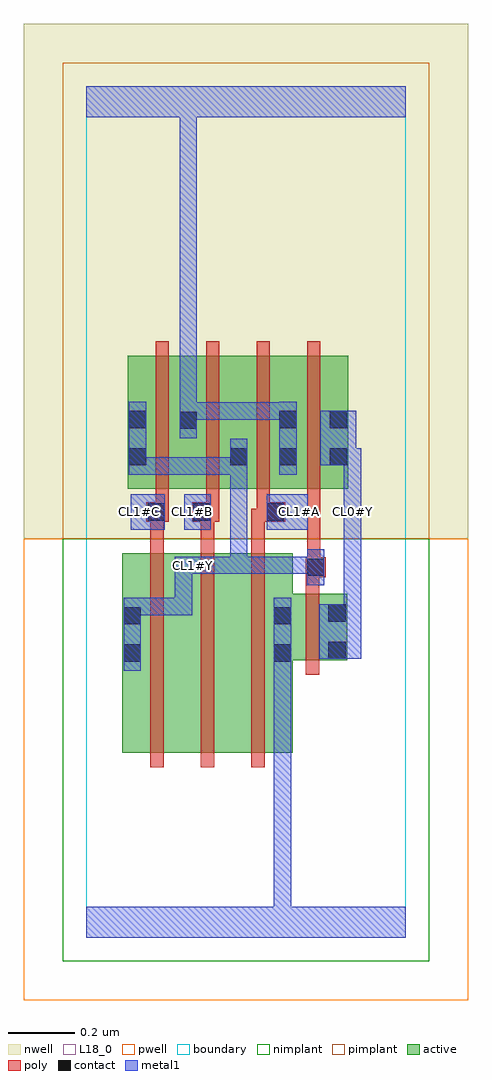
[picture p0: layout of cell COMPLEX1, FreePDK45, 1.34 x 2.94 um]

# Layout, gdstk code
import gdstk
lib = gdstk.Library(unit=1e-6, precision=1e-09)
def R(c, l, rs):  # rectangles x0, y0, x1, y1
    for r in rs: c.add(gdstk.rectangle(r[:2], r[2:], *l))
def A(c, l, x, y, w, h, nx, ny, dx, dy):  # array of equal rectangles
    R(c, l, [(x+i*dx, y+j*dy, x+i*dx+w, y+j*dy+h) for i in range(nx) for j in range(ny)])
active = (1, 0)
pwell = (2, 0)
nwell = (3, 0)
nimplant = (4, 0)
pimplant = (5, 0)
poly = (9, 0)
contact = (10, 0)
metal1 = (11, 0)
L18_0 = (18, 0)
boundary = (235, 0)

complex1 = lib.new_cell('COMPLEX1')
A(complex1, active, 0.124, 1.35, 0.06, 0.294, 3, 1, 0.152, 0)
R(complex1, active, [(0.108,0.556,0.288,1.156), (0.108,0.556,0.168,1.156), (0.288,0.556,0.44,1.156), (0.44,0.556,0.62,1.156), (0.56,0.556,0.62,1.034), (0.56,0.834,0.784,1.034), (0.724,0.834,0.784,1.034), (0.124,1.35,0.336,1.75), (0.276,1.35,0.488,1.75), (0.428,1.35,0.636,1.75), (0.576,1.35,0.636,1.644), (0.576,1.35,0.788,1.75), (0.728,1.35,0.788,1.644)])
R(complex1, pwell, [(-0.188,-0.188,1.148,1.2)])
R(complex1, nwell, [(-0.188,1.2,1.148,2.748)])
R(complex1, nimplant, [(-0.072,-0.072,1.032,1.2)])
R(complex1, pimplant, [(-0.072,1.2,1.032,2.632)])
A(complex1, poly, 0.192, 0.512, 0.04, 0.688, 3, 1, 0.152, 0)
A(complex1, poly, 0.192, 1.16, 0.04, 0.13, 3, 1, 0.152, 0)
A(complex1, poly, 0.208, 1.27, 0.04, 0.076, 3, 1, 0.152, 0)
A(complex1, poly, 0.208, 1.306, 0.04, 0.488, 4, 1, 0.152, 0)
R(complex1, poly, [(0.66,0.79,0.7,1.078), (0.66,1.038,0.7,1.124), (0.66,1.084,0.72,1.144), (0.664,1.104,0.704,1.346), (0.664,1.104,0.704,1.144), (0.664,1.104,0.704,1.144), (0.18,1.25,0.248,1.31), (0.192,1.25,0.232,1.29), (0.192,1.25,0.232,1.29), (0.318,1.25,0.4,1.31), (0.344,1.25,0.384,1.29), (0.344,1.25,0.384,1.29), (0.496,1.25,0.552,1.29), (0.512,1.25,0.552,1.29), (0.512,1.25,0.598,1.31)])
R(complex1, contact, [(0.112,0.83,0.164,0.882), (0.564,0.83,0.616,0.882), (0.728,0.838,0.78,0.89), (0.112,0.942,0.164,0.994), (0.564,0.942,0.616,0.994), (0.728,0.95,0.78,1.002), (0.664,1.088,0.716,1.14), (0.184,1.254,0.236,1.306), (0.322,1.254,0.374,1.306), (0.542,1.254,0.594,1.306), (0.128,1.42,0.18,1.472), (0.432,1.42,0.484,1.472), (0.58,1.42,0.632,1.472), (0.732,1.42,0.784,1.472), (0.28,1.53,0.332,1.582), (0.128,1.532,0.18,1.584), (0.58,1.532,0.632,1.584), (0.732,1.532,0.784,1.584)])
R(complex1, metal1, [(0,0,0.96,0.092), (0.564,0.04,0.616,0.092), (0.564,0.04,0.616,0.092), (0.564,0.04,0.616,0.092), (0.564,0.04,0.616,0.092), (0.564,0.04,0.616,0.092), (0.564,0.04,0.616,0.092), (0.564,0.04,0.616,0.854), (0.112,0.802,0.164,1.022), (0.564,0.802,0.616,0.854), (0.564,0.802,0.616,0.854), (0.564,0.802,0.616,1.022), (0.7,0.838,0.826,1.002), (0.774,0.95,0.826,1.278), (0.112,0.97,0.164,1.022), (0.112,0.97,0.164,1.022), (0.112,0.97,0.318,1.022), (0.266,0.97,0.318,1.022), (0.266,0.97,0.318,1.146), (0.664,1.06,0.716,1.168), (0.266,1.094,0.374,1.146), (0.322,1.094,0.374,1.146), (0.322,1.094,0.374,1.146), (0.322,1.094,0.484,1.146), (0.432,1.094,0.484,1.146), (0.432,1.094,0.606,1.146), (0.432,1.094,0.484,1.444), (0.554,1.094,0.606,1.146), (0.554,1.094,0.606,1.146), (0.554,1.094,0.606,1.146), (0.554,1.094,0.716,1.146), (0.134,1.226,0.236,1.334), (0.294,1.226,0.374,1.334), (0.542,1.226,0.666,1.334), (0.774,1.226,0.826,1.334), (0.774,1.282,0.826,1.472), (0.128,1.392,0.18,1.444), (0.128,1.392,0.18,1.444), (0.128,1.392,0.18,1.612), (0.128,1.392,0.374,1.444), (0.322,1.392,0.374,1.444), (0.322,1.392,0.374,1.444), (0.322,1.392,0.374,1.444), (0.322,1.392,0.484,1.444), (0.432,1.392,0.484,1.444), (0.432,1.392,0.484,1.444), (0.432,1.392,0.484,1.5), (0.58,1.392,0.632,1.612), (0.704,1.42,0.812,1.584), (0.76,1.42,0.812,1.472), (0.76,1.42,0.826,1.472), (0.28,1.502,0.332,1.61), (0.28,1.558,0.332,1.61), (0.28,1.558,0.332,1.61), (0.28,1.558,0.332,1.61), (0.28,1.558,0.332,1.61), (0.28,1.558,0.332,1.61), (0.28,1.558,0.332,1.61), (0.28,1.558,0.332,1.61), (0.28,1.558,0.332,1.61), (0.28,1.558,0.332,1.61), (0.28,1.558,0.332,1.61), (0.28,1.558,0.332,1.61), (0.28,1.558,0.332,1.61), (0.28,1.558,0.332,1.61), (0.28,1.558,0.332,1.61), (0.28,1.558,0.332,1.61), (0.28,1.558,0.332,1.61), (0.28,1.558,0.332,1.61), (0.28,1.558,0.332,1.61), (0.28,1.558,0.496,1.61), (0.28,1.558,0.332,2.52), (0.444,1.558,0.496,1.61), (0.444,1.558,0.496,1.61), (0.444,1.558,0.496,1.61), (0.444,1.558,0.632,1.61), (0,2.468,0.96,2.56)])
R(complex1, L18_0, [(0,0,0.96,0.092), (0.564,0.04,0.616,0.092), (0.564,0.04,0.616,0.092), (0.564,0.04,0.616,0.092), (0.564,0.04,0.616,0.092), (0.564,0.04,0.616,0.092), (0.564,0.04,0.616,0.092), (0.564,0.04,0.616,0.854), (0.112,0.802,0.164,1.022), (0.564,0.802,0.616,1.022), (0.564,0.802,0.616,0.854), (0.564,0.802,0.616,0.854), (0.7,0.838,0.826,1.002), (0.774,0.95,0.826,1.278), (0.112,0.97,0.164,1.022), (0.112,0.97,0.164,1.022), (0.112,0.97,0.318,1.022), (0.266,0.97,0.318,1.022), (0.266,0.97,0.318,1.146), (0.664,1.06,0.716,1.168), (0.266,1.094,0.374,1.146), (0.294,1.094,0.346,1.146), (0.322,1.094,0.374,1.146), (0.322,1.094,0.374,1.146), (0.322,1.094,0.484,1.146), (0.432,1.094,0.484,1.146), (0.432,1.094,0.484,1.444), (0.432,1.094,0.606,1.146), (0.554,1.094,0.606,1.146), (0.554,1.094,0.606,1.146), (0.554,1.094,0.606,1.146), (0.554,1.094,0.716,1.146), (0.134,1.226,0.236,1.334), (0.294,1.226,0.374,1.334), (0.542,1.226,0.666,1.334), (0.774,1.226,0.826,1.334), (0.134,1.254,0.186,1.306), (0.294,1.254,0.346,1.306), (0.614,1.254,0.666,1.306), (0.774,1.254,0.826,1.306), (0.774,1.282,0.826,1.472), (0.128,1.392,0.18,1.612), (0.128,1.392,0.18,1.444), (0.128,1.392,0.18,1.444), (0.128,1.392,0.374,1.444), (0.322,1.392,0.374,1.444), (0.322,1.392,0.374,1.444), (0.322,1.392,0.374,1.444), (0.322,1.392,0.484,1.444), (0.432,1.392,0.484,1.444), (0.432,1.392,0.484,1.444), (0.432,1.392,0.484,1.5), (0.58,1.392,0.632,1.612), (0.704,1.42,0.812,1.584), (0.76,1.42,0.812,1.472), (0.76,1.42,0.826,1.472), (0.28,1.502,0.332,1.61), (0.28,1.558,0.332,1.61), (0.28,1.558,0.332,1.61), (0.28,1.558,0.332,1.61), (0.28,1.558,0.332,1.61), (0.28,1.558,0.332,1.61), (0.28,1.558,0.332,1.61), (0.28,1.558,0.332,1.61), (0.28,1.558,0.332,1.61), (0.28,1.558,0.332,1.61), (0.28,1.558,0.332,1.61), (0.28,1.558,0.332,1.61), (0.28,1.558,0.332,1.61), (0.28,1.558,0.332,1.61), (0.28,1.558,0.332,1.61), (0.28,1.558,0.332,1.61), (0.28,1.558,0.332,1.61), (0.28,1.558,0.332,1.61), (0.28,1.558,0.332,1.61), (0.28,1.558,0.332,2.52), (0.28,1.558,0.496,1.61), (0.444,1.558,0.496,1.61), (0.444,1.558,0.496,1.61), (0.444,1.558,0.496,1.61), (0.444,1.558,0.632,1.61), (0,2.468,0.96,2.56)])
R(complex1, boundary, [(0,0,0.96,2.56)])
complex1.add(gdstk.Label('CL0#Y', (0.8,1.28), layer=11, texttype=0))
complex1.add(gdstk.Label('CL1#A', (0.64,1.28), layer=11, texttype=0))
complex1.add(gdstk.Label('CL1#B', (0.32,1.28), layer=11, texttype=0))
complex1.add(gdstk.Label('CL1#C', (0.16,1.28), layer=11, texttype=0))
complex1.add(gdstk.Label('CL1#Y', (0.32,1.12), layer=11, texttype=0))

lib.write_gds('COMPLEX1.gds')
